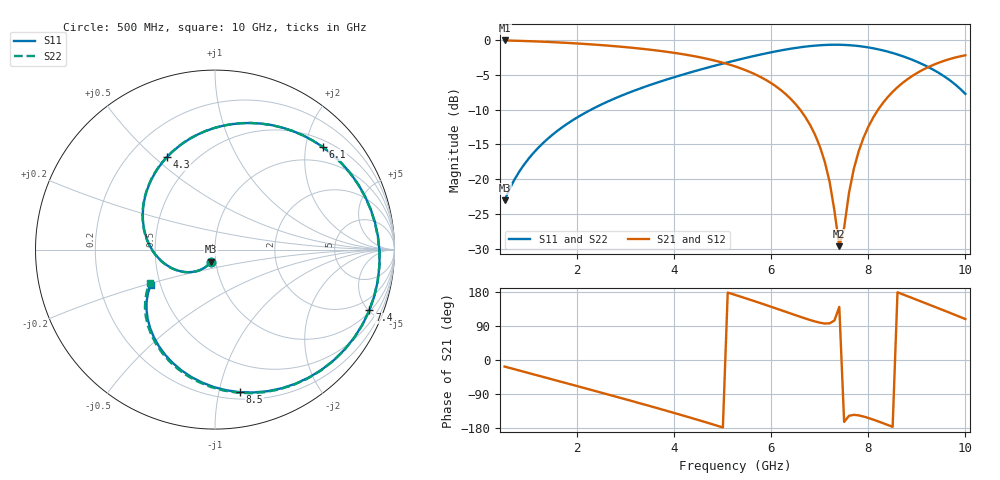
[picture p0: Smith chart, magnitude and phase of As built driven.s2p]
! Generated by circuitRF - EM: Palace
! circuitRF-EM setup: As built Driven (Draft)
! circuitRF-EM layout: As built.c3d
! circuitRF-EM written: 2026-10-30 01:18:11Z
! circuitRF-EM geometry: 74a307721a7a9fcd
! circuitRF-EM mesh: 080ce14e84f767f4
! circuitRF-EM ports: 481084ff745699d3
! circuitRF-EM model: Palace 0.18.1 (0dc74cd, schema 1-7-0)
! circuitRF-EM port 1: 'port/1' from 'U1/Inner 1/1' to 'U1/Top Copper (1 oz)/1', lumped, 50 Ohm
! circuitRF-EM port 2: 'port/2' from 'U1/Inner 1/1' to 'U1/Top Copper (1 oz)/1', lumped, 50 Ohm
! circuitRF-EM 3D mesh: 144,441 elements initially, 245,661 finally, 2 adaptive pass(es), element order 1
! circuitRF-EM 3D operating temperature: 20 C
! circuitRF-EM 3D run: preset Draft; 144441 -> 245661 tetrahedra; 296805 unknowns; 2 refinement pass(es); 6 frequency sample(s)
! circuitRF-EM 3D run cost: wall 439 s; Palace peak memory 7.8 GB
! circuitRF-EM: re-running the EM setup rewrites this file. If circuitRF reports it as stale, the layout's cross-section changed after this file was written.
# GHz S RI R 50
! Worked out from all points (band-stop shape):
!   96 points, 500 MHz to 10 GHz, reference 50 ohm
!   highest |S21| = -0.07 dB at 500 MHz (marker M1); lowest = -29.6 dB at 7.4 GHz (marker M2)
!   |S21| within 3 dB of the highest: start of sweep to 4.893 GHz; 9.532 GHz to end of sweep
!   lowest |S11| = -23.0 dB at 500 MHz (marker M3), VSWR 1.15, Z = 47.4 - j6.36 ohm
!   |S11| at or under -10 dB: start of sweep to 2.287 GHz
!   |S22| runs from -23.0 to -0.7 dB; largest |S21 - S12| = 0
!   S11 on the Smith chart (normalised r, x): 500 MHz: 0.95, -0.13; 4.3 GHz: 0.35, +0.55; 6.1 GHz: 0.64, +2.35; 7.4 GHz: 1.10, -5.06; 8.5 GHz: 0.25, -1.16; 10 GHz: 0.44, -0.21
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0.5  -0.0225 -0.0667  0.9476 -0.2951  0.9476 -0.2951  -0.0224 -0.0668
1.1  -0.099 -0.119  0.7709 -0.6018  0.7709 -0.6018  -0.0985 -0.1195
2.1  -0.2806 -0.0782  0.2823 -0.8956  0.2823 -0.8956  -0.28 -0.0803
2.9  -0.3877 0.084  -0.1616 -0.8797  -0.1616 -0.8797  -0.3884 0.0807
3.7  -0.3805 0.3259  -0.5248 -0.6496  -0.5248 -0.6496  -0.3832 0.3226
4.3  -0.2676 0.5153  -0.6799 -0.3762  -0.6799 -0.3762  -0.2711 0.5133
4.8  -0.0944 0.642  -0.7052 -0.1222  -0.7052 -0.1222  -0.0976 0.6414
5.3  0.1455 0.7042  -0.6276 0.1122  -0.6276 0.1122  0.1438 0.7043
5.7  0.3711 0.6809  -0.4989 0.2522  -0.4989 0.2522  0.3711 0.6805
6.1  0.6012 0.5715  -0.3321 0.3222  -0.3321 0.3222  0.6027 0.5692
6.6  0.8346 0.2998  -0.1266 0.2865  -0.1266 0.2865  0.8362 0.2936
6.9  0.9079 0.0749  -0.0422 0.204  -0.0422 0.204  0.908 0.066
7.2  0.9072 -0.1734  -0.0111 0.0951  -0.0111 0.0951  0.9043 -0.1844
7.4  0.8605 -0.3372  -0.0253 0.0211  -0.0253 0.0211  0.8551 -0.3489
7.5  0.8234 -0.4147  -0.0428 -0.0127  -0.0428 -0.0127  0.8166 -0.4265
7.7  0.7241 -0.5547  -0.0967 -0.0685  -0.0967 -0.0685  0.7145 -0.5661
7.8  0.6635 -0.6149  -0.1315 -0.0883  -0.1315 -0.0883  0.6524 -0.6258
8.1  0.45 -0.7465  -0.2558 -0.1069  -0.2558 -0.1069  0.4352 -0.7546
8.5  0.1391 -0.7943  -0.423 -0.027  -0.423 -0.027  0.1215 -0.7967
8.9  -0.1327 -0.7093  -0.5281 0.1541  -0.5281 0.1541  -0.1498 -0.7057
9.3  -0.3137 -0.5367  -0.5268 0.3869  -0.5268 0.3869  -0.3273 -0.5284
10  -0.3584 -0.198  -0.2397 0.7384  -0.2397 0.7384  -0.3637 -0.1883
